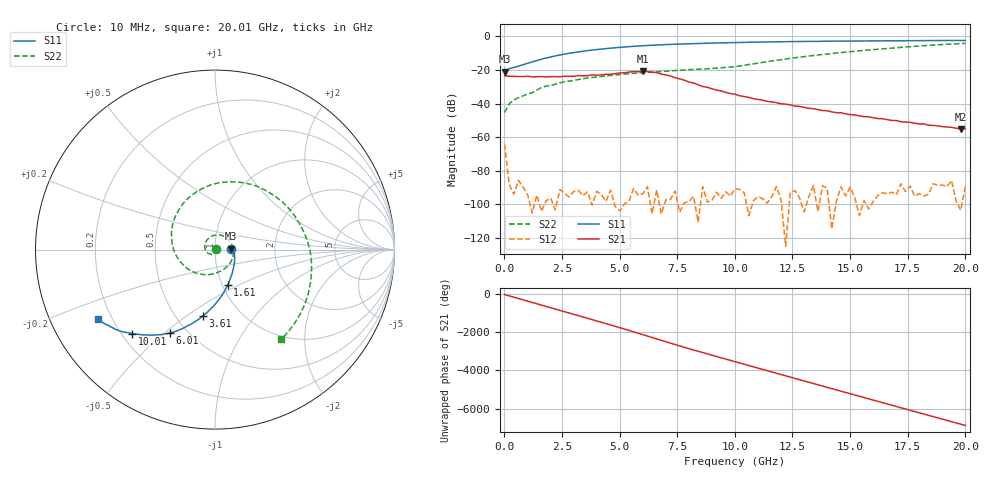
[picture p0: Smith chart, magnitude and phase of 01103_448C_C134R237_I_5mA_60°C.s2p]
!;Filter: kein Filter
!auto
!3/21/2019 9:27:39 AM
!3/21/2019 9:27:53 AM
!SP-Measurements Prober G4
!SP-Measurements Prober G4
!01103_448C
!134
!237
!12
!60
!-20
!0.00499992
!1.96
!0.64375220
!0.64375220
# Hz S  RI  R 50
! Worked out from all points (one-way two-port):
!   101 points, 10 MHz to 20.01 GHz, reference 50 ohm
!   highest |S21| = -20.74 dB at 6.01 GHz (marker M1); lowest = -55.0 dB at 19.81 GHz (marker M2)
!   lowest |S11| = -20.9 dB at 10 MHz (marker M3), VSWR 1.20, Z = 59.9 + j0.677 ohm
!   |S11| at or under -10 dB: start of sweep to 2.83 GHz
!   |S22| runs from -45.3 to -4.1 dB; largest |S21 - S12| = 0.092
!   S11 on the Smith chart (normalised r, x): 10 MHz: 1.20, +0.01; 1.61 GHz: 1.06, -0.44; 3.61 GHz: 0.67, -0.58; 6.01 GHz: 0.40, -0.52; 10.01 GHz: 0.24, -0.40; 20.01 GHz: 0.15, -0.27
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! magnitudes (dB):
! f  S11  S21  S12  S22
! 10 MHz  -20.9  -23.4  -64.3  -45.3
! 210 MHz  -19.2  -23.7  -88.1  -40.1
! 410 MHz  -18.5  -23.8  -94.0  -37.9
! 610 MHz  -17.7  -23.9  -85.7  -36.5
! 1.01 GHz  -16.0  -23.7  -94.2  -34.3
! 1.21 GHz  -15.1  -24.1  -105.2  -33.5
! 1.61 GHz  -13.5  -23.9  -104.1  -30.5
! 2.61 GHz  -10.5  -23.7  -93.4  -26.9
! 3.41 GHz  -8.8  -23.4  -94.9  -25.1
! 3.61 GHz  -8.5  -23.3  -92.6  -24.7
! 6.01 GHz  -5.5  -20.7  -93.7  -21.6
! 6.61 GHz  -5.1  -21.5  -91.4  -21.1
! 6.81 GHz  -5.0  -22.4  -105.7  -20.9
! 7.21 GHz  -4.7  -23.5  -97.1  -20.5
! 8.21 GHz  -4.3  -27.7  -95.2  -19.6
! 8.61 GHz  -4.1  -29.8  -89.5  -19.4
! 10.01 GHz  -3.6  -34.4  -90.6  -17.9
! 11.41 GHz  -3.3  -38.7  -99.3  -15.0
! 13.41 GHz  -2.9  -43.0  -88.8  -11.4
! 16.81 GHz  -2.6  -50.0  -92.8  -7.0
! 19.81 GHz  -2.4  -55.0  -103.4  -4.3
! 20.01 GHz  -2.4  -54.9  -89.1  -4.1
